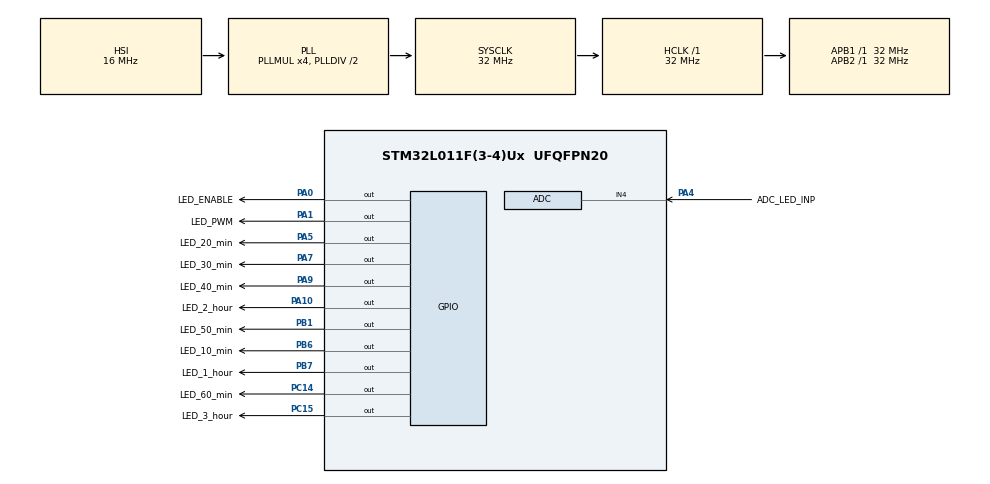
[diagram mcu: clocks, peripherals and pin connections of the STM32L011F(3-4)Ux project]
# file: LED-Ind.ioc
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Mcu.Family=STM32L0
Mcu.Name=STM32L011F(3-4)Ux
Mcu.Package=UFQFPN20
PA0-CK_IN.GPIO_Label=LED_ENABLE
PA0-CK_IN.GPIO_Speed=GPIO_SPEED_FREQ_HIGH
PA0-CK_IN.Signal=GPIO_Output
PA1.GPIO_Label=LED_PWM
PA1.GPIO_Speed=GPIO_SPEED_FREQ_VERY_HIGH
PA1.Signal=GPIO_Output
PA10.GPIO_Label=LED_2_hour
PA10.PinState=GPIO_PIN_RESET
PA10.Signal=GPIO_Output
PA13.Mode=Serial_Wire
PA13.Signal=SYS_SWDIO
PA14.Mode=Serial_Wire
PA14.Signal=SYS_SWCLK
PA4.GPIO_Label=ADC_LED_INP
PA4.Mode=IN4
PA4.Signal=ADC_IN4
PA5.GPIO_Label=LED_20_min
PA5.Signal=GPIO_Output
PA7.GPIO_Label=LED_30_min
PA7.Signal=GPIO_Output
PA9.GPIO_Label=LED_40_min
PA9.PinState=GPIO_PIN_RESET
PA9.Signal=GPIO_Output
PB1.GPIO_Label=LED_50_min
PB1.Signal=GPIO_Output
PB6.GPIO_FM6=I2C_FASTMODEPLUS_PB6
PB6.GPIO_Label=LED_10_min
PB6.PinState=GPIO_PIN_RESET
PB6.Signal=GPIO_Output
PB7.GPIO_FM7=I2C_FASTMODEPLUS_PB7
PB7.GPIO_Label=LED_1_hour
PB7.Signal=GPIO_Output
PC14-OSC32_IN.GPIO_Label=LED_60_min
PC14-OSC32_IN.Signal=GPIO_Output
PC15-OSC32_OUT.GPIO_Label=LED_3_hour
PC15-OSC32_OUT.Signal=GPIO_Output
ProjectManager.HeapSize=0x200
ProjectManager.StackSize=0x400
ProjectManager.TargetToolchain=STM32CubeIDE
RCC.AHBFreq_Value=32000000
RCC.APB1Freq_Value=32000000
RCC.APB1TimFreq_Value=32000000
RCC.APB2Freq_Value=32000000
RCC.APB2TimFreq_Value=32000000
RCC.HCLKFreq_Value=32000000
RCC.HSE_VALUE=8000000
RCC.HSI16_VALUE=16000000
RCC.HSI_VALUE=16000000
RCC.LSE_VALUE=32768
RCC.MSI_VALUE=2097000
RCC.PLLMUL=RCC_PLLMUL_4
RCC.SYSCLKFreq_VALUE=32000000
RCC.SYSCLKSource=RCC_SYSCLKSOURCE_PLLCLK
RCC.VCOOutputFreq_Value=64000000
SYS.PVDLevel=PWR_PVDLEVEL_6
VP_SYS_V_PVD_IN.Mode=Mode_PVD_Int
board=custom

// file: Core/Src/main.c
/* USER CODE BEGIN Header */
/**
  ******************************************************************************
  * @file           : main.c
  * @brief          : Main program body
  ******************************************************************************
  * @attention
  *
  * Copyright (c) 2022 STMicroelectronics.
  * All rights reserved.
  *
  * This software is licensed under terms that can be found in the LICENSE file
  * in the root directory of this software component.
  * If no LICENSE file comes with this software, it is provided AS-IS.
  *
  ******************************************************************************
  */
/* USER CODE END Header */
#include "main.h"

/* USER CODE BEGIN PD */

#define LED_ENABLE HAL_GPIO_WritePin(LED_ENABLE_GPIO_Port, LED_ENABLE_Pin,GPIO_PIN_SET)
#define LED_DISABLE HAL_GPIO_WritePin(LED_ENABLE_GPIO_Port, LED_ENABLE_Pin,GPIO_PIN_RESET)

#define LED_PWM_ON  HAL_GPIO_WritePin(GPIOA, LED_PWM_Pin, GPIO_PIN_SET)
#define LED_PWM_OFF HAL_GPIO_WritePin(GPIOA, LED_PWM_Pin, GPIO_PIN_RESET)

#define LED_10_MIN_ON  HAL_GPIO_WritePin(LED_10_min_GPIO_Port, LED_10_min_Pin,GPIO_PIN_SET)
#define LED_10_MIN_OFF  HAL_GPIO_WritePin(LED_10_min_GPIO_Port, LED_10_min_Pin,GPIO_PIN_RESET)

#define LED_20_MIN_ON  HAL_GPIO_WritePin(LED_20_min_GPIO_Port, LED_20_min_Pin,GPIO_PIN_SET)
#define LED_20_MIN_OFF  HAL_GPIO_WritePin(LED_20_min_GPIO_Port, LED_20_min_Pin,GPIO_PIN_RESET)

#define LED_30_MIN_ON  HAL_GPIO_WritePin(LED_30_min_GPIO_Port, LED_30_min_Pin,GPIO_PIN_SET)
#define LED_30_MIN_OFF  HAL_GPIO_WritePin(LED_30_min_GPIO_Port, LED_30_min_Pin,GPIO_PIN_RESET)

#define LED_40_MIN_ON  HAL_GPIO_WritePin(LED_40_min_GPIO_Port, LED_40_min_Pin,GPIO_PIN_SET)
#define LED_40_MIN_OFF  HAL_GPIO_WritePin(LED_40_min_GPIO_Port, LED_40_min_Pin,GPIO_PIN_RESET)

#define LED_50_MIN_ON  HAL_GPIO_WritePin(LED_50_min_GPIO_Port, LED_50_min_Pin,GPIO_PIN_SET)
#define LED_50_MIN_OFF  HAL_GPIO_WritePin(LED_50_min_GPIO_Port, LED_50_min_Pin,GPIO_PIN_RESET)

#define LED_60_MIN_ON  HAL_GPIO_WritePin(LED_60_min_GPIO_Port, LED_60_min_Pin,GPIO_PIN_SET)
#define LED_60_MIN_OFF  HAL_GPIO_WritePin(LED_60_min_GPIO_Port, LED_60_min_Pin,GPIO_PIN_RESET)

#define LED_1_HOUR_ON   HAL_GPIO_WritePin(LED_1_hour_GPIO_Port, LED_1_hour_Pin,GPIO_PIN_SET)
#define LED_1_HOUR_OFF  HAL_GPIO_WritePin(LED_1_hour_GPIO_Port, LED_1_hour_Pin,GPIO_PIN_RESET)

#define LED_2_HOUR_ON   HAL_GPIO_WritePin(LED_2_hour_GPIO_Port, LED_2_hour_Pin,GPIO_PIN_SET)
#define LED_2_HOUR_OFF  HAL_GPIO_WritePin(LED_2_hour_GPIO_Port, LED_2_hour_Pin,GPIO_PIN_RESET)

#define LED_3_HOUR_ON   HAL_GPIO_WritePin(GPIOC,GPIO_PIN_15,GPIO_PIN_SET)
#define LED_3_HOUR_OFF  HAL_GPIO_WritePin(GPIOC,GPIO_PIN_15,GPIO_PIN_RESET)

#define ALL_OFF LED_10_MIN_OFF LED_20_MIN_OFF LED_30_MIN_OFF LED_40_MIN_OFF LED_50_MIN_OFF	LED_60_MIN_OFF LED_1_HOUR_OFF LED_2_HOUR_OFF LED_3_HOUR_OFF;

#define ALL_ON LED_10_MIN_ON LED_20_MIN_ON LED_30_MIN_ON LED_40_MIN_ON LED_50_MIN_ON	LED_60_MIN_ON LED_1_HOUR_ON LED_2_HOUR_ON LED_3_HOUR_ON;

#define KOEFF 9350000

#define BLNK 18000

/* USER CODE END PD */

ADC_HandleTypeDef hadc;

/* USER CODE BEGIN PV */

uint32_t dl=0;
uint64_t count=0;
uint8_t scene=0;
uint8_t hour=0;
uint16_t blink=0;

/* USER CODE END PV */

void SystemClock_Config(void);
static void MX_GPIO_Init(void);
static void MX_ADC_Init(void);
/* USER CODE BEGIN PFP */
void Delay(uint32_t);

/* USER CODE END PFP */

int main(void)
{

  /* MCU Configuration--------------------------------------------------------*/

  /* Reset of all peripherals, Initializes the Flash interface and the Systick. */
  HAL_Init();

  /* Configure the system clock */
  SystemClock_Config();

  /* Initialize all configured peripherals */
  MX_GPIO_Init();
  MX_ADC_Init();
  /* USER CODE BEGIN 2 */

  LED_ENABLE;

	LED_10_MIN_ON;

	HAL_Delay(200);

	LED_20_MIN_ON;

	HAL_Delay(200);

	LED_30_MIN_ON;

	HAL_Delay(200);

	LED_40_MIN_ON;

	HAL_Delay(200);

	LED_50_MIN_ON;

	HAL_Delay(200);

	LED_60_MIN_ON;

	HAL_Delay(200);

	LED_1_HOUR_ON;

	HAL_Delay(200);

	LED_2_HOUR_ON;

	HAL_Delay(200);

	LED_3_HOUR_ON;

	HAL_Delay(800);

	LED_10_MIN_OFF;
	LED_20_MIN_OFF;
	LED_30_MIN_OFF;
	LED_40_MIN_OFF;
	LED_50_MIN_OFF;
	LED_60_MIN_OFF;
    LED_1_HOUR_OFF;
    LED_2_HOUR_OFF;
    LED_3_HOUR_OFF;
    /*
    HAL_Delay(500);
    ALL_ON;
    HAL_Delay(500);
    ALL_OFF;
*/

    HAL_Delay(500);
  dl=50;
  LED_ENABLE;
  /* USER CODE END 2 */

  /* Infinite loop */
  /* USER CODE BEGIN WHILE */
  while (1)
  {

	 LED_PWM_ON;

	                      LED_10_MIN_OFF;
					      LED_20_MIN_OFF;
				          LED_30_MIN_OFF;
				          LED_40_MIN_OFF;
					      LED_50_MIN_OFF;
				          LED_60_MIN_OFF;
					      LED_1_HOUR_OFF;
					      LED_2_HOUR_OFF;
				          LED_3_HOUR_OFF;

	                      count++;

	                      scene=count/KOEFF;
	                      if(hour==4){scene=0;count=0;hour=0;}
	//  Delay(dl);
	  LED_PWM_OFF;

                blink++;

                if(blink>BLNK){blink=0;}

				if((scene==0)||(scene==6)||(scene==12)||(scene==18)){ LED_10_MIN_ON;  if((blink>(BLNK/2))&&(blink<BLNK)){ LED_10_MIN_OFF; }}

				if((scene==1)||(scene==7)||(scene==13)||(scene==19)){ LED_20_MIN_ON;  if((blink>(BLNK/2))&&(blink<BLNK)){ LED_20_MIN_OFF; }}

				if((scene==2)||(scene==8)||(scene==14)||(scene==20)){ LED_30_MIN_ON;  if((blink>(BLNK/2))&&(blink<BLNK)){ LED_30_MIN_OFF; }}

				if((scene==3)||(scene==9)||(scene==15)||(scene==21)){ LED_40_MIN_ON;  if((blink>(BLNK/2))&&(blink<BLNK)){ LED_40_MIN_OFF; }}

				if((scene==4)||(scene==10)||(scene==16)||(scene==22)){LED_50_MIN_ON;  if((blink>(BLNK/2))&&(blink<BLNK)){ LED_50_MIN_OFF; }}

				if((scene==5)||(scene==11)||(scene==17)||(scene==23)){LED_60_MIN_ON;  if((blink>(BLNK/2))&&(blink<BLNK)){ LED_60_MIN_OFF; }}

				if((scene>=6)&&(scene<=11)){hour=1;LED_1_HOUR_ON;}

				if((scene>=12)&&(scene<=17)){ hour=2;LED_1_HOUR_ON; LED_2_HOUR_ON;}

				if((scene>=18)&&(scene<=23)){ hour=3;LED_1_HOUR_ON;LED_2_HOUR_ON;LED_3_HOUR_ON;}

				if(scene==24){

					    LED_10_MIN_ON;
						LED_20_MIN_ON;
						LED_30_MIN_ON;
						LED_40_MIN_ON;
						LED_50_MIN_ON;
						LED_60_MIN_ON;
					    LED_1_HOUR_ON;
					    LED_2_HOUR_ON;
					    LED_3_HOUR_ON;

					   HAL_Delay(600);

					    LED_10_MIN_OFF;
					    LED_20_MIN_OFF;
					    LED_30_MIN_OFF;
					    LED_40_MIN_OFF;
					    LED_50_MIN_OFF;
					    LED_60_MIN_OFF;
					    LED_1_HOUR_OFF;
					    LED_2_HOUR_OFF;
					    LED_3_HOUR_OFF;

					   HAL_Delay(600);

					    LED_10_MIN_ON;
					    LED_20_MIN_ON;
						LED_30_MIN_ON;
						LED_40_MIN_ON;
					    LED_50_MIN_ON;
					    LED_60_MIN_ON;
					    LED_1_HOUR_ON;
					    LED_2_HOUR_ON;
					    LED_3_HOUR_ON;

					    HAL_Delay(600);

					    LED_10_MIN_OFF;
					   	LED_20_MIN_OFF;
					   	LED_30_MIN_OFF;
					   	LED_40_MIN_OFF;
					   	LED_50_MIN_OFF;
					   	LED_60_MIN_OFF;
					   	LED_1_HOUR_OFF;
					   	LED_2_HOUR_OFF;
					   	LED_3_HOUR_OFF;

					   	HAL_Delay(600);

					   	LED_10_MIN_ON;
					   	LED_20_MIN_ON;
					   	LED_30_MIN_ON;
					   	LED_40_MIN_ON;
					   	LED_50_MIN_ON;
					   	LED_60_MIN_ON;
					   	LED_1_HOUR_ON;
					   	LED_2_HOUR_ON;
					   	LED_3_HOUR_ON;
					    HAL_Delay(1000);
				    	hour=4;}

				 Delay(dl);
				// HAL_Delay(5);

  }

    /* USER CODE END WHILE */

  }

void SystemClock_Config(void)
{
  RCC_OscInitTypeDef RCC_OscInitStruct = {0};
  RCC_ClkInitTypeDef RCC_ClkInitStruct = {0};

  /** Configure the main internal regulator output voltage
  */
  __HAL_PWR_VOLTAGESCALING_CONFIG(PWR_REGULATOR_VOLTAGE_SCALE1);

  /** Initializes the RCC Oscillators according to the specified parameters
  * in the RCC_OscInitTypeDef structure.
  */
  RCC_OscInitStruct.OscillatorType = RCC_OSCILLATORTYPE_HSI;
  RCC_OscInitStruct.HSIState = RCC_HSI_ON;
  RCC_OscInitStruct.HSICalibrationValue = RCC_HSICALIBRATION_DEFAULT;
  RCC_OscInitStruct.PLL.PLLState = RCC_PLL_ON;
  RCC_OscInitStruct.PLL.PLLSource = RCC_PLLSOURCE_HSI;
  RCC_OscInitStruct.PLL.PLLMUL = RCC_PLLMUL_4;
  RCC_OscInitStruct.PLL.PLLDIV = RCC_PLLDIV_2;
  if (HAL_RCC_OscConfig(&RCC_OscInitStruct) != HAL_OK)
  {
    Error_Handler();
  }

  /** Initializes the CPU, AHB and APB buses clocks
  */
  RCC_ClkInitStruct.ClockType = RCC_CLOCKTYPE_HCLK|RCC_CLOCKTYPE_SYSCLK
                              |RCC_CLOCKTYPE_PCLK1|RCC_CLOCKTYPE_PCLK2;
  RCC_ClkInitStruct.SYSCLKSource = RCC_SYSCLKSOURCE_PLLCLK;
  RCC_ClkInitStruct.AHBCLKDivider = RCC_SYSCLK_DIV1;
  RCC_ClkInitStruct.APB1CLKDivider = RCC_HCLK_DIV1;
  RCC_ClkInitStruct.APB2CLKDivider = RCC_HCLK_DIV1;

  if (HAL_RCC_ClockConfig(&RCC_ClkInitStruct, FLASH_LATENCY_1) != HAL_OK)
  {
    Error_Handler();
  }
}

static void MX_ADC_Init(void)
{

  ADC_ChannelConfTypeDef sConfig = {0};

  /** Configure the global features of the ADC (Clock, Resolution, Data Alignment and number of conversion)
  */
  hadc.Instance = ADC1;
  hadc.Init.OversamplingMode = DISABLE;
  hadc.Init.ClockPrescaler = ADC_CLOCK_SYNC_PCLK_DIV2;
  hadc.Init.Resolution = ADC_RESOLUTION_12B;
  hadc.Init.SamplingTime = ADC_SAMPLETIME_1CYCLE_5;
  hadc.Init.ScanConvMode = ADC_SCAN_DIRECTION_FORWARD;
  hadc.Init.DataAlign = ADC_DATAALIGN_RIGHT;
  hadc.Init.ContinuousConvMode = DISABLE;
  hadc.Init.DiscontinuousConvMode = DISABLE;
  hadc.Init.ExternalTrigConvEdge = ADC_EXTERNALTRIGCONVEDGE_NONE;
  hadc.Init.ExternalTrigConv = ADC_SOFTWARE_START;
  hadc.Init.DMAContinuousRequests = DISABLE;
  hadc.Init.EOCSelection = ADC_EOC_SINGLE_CONV;
  hadc.Init.Overrun = ADC_OVR_DATA_PRESERVED;
  hadc.Init.LowPowerAutoWait = DISABLE;
  hadc.Init.LowPowerFrequencyMode = DISABLE;
  hadc.Init.LowPowerAutoPowerOff = DISABLE;
  if (HAL_ADC_Init(&hadc) != HAL_OK)
  {
    Error_Handler();
  }

  /** Configure for the selected ADC regular channel to be converted.
  */
  sConfig.Channel = ADC_CHANNEL_4;
  sConfig.Rank = ADC_RANK_CHANNEL_NUMBER;
  if (HAL_ADC_ConfigChannel(&hadc, &sConfig) != HAL_OK)
  {
    Error_Handler();
  }

}

static void MX_GPIO_Init(void)
{
  GPIO_InitTypeDef GPIO_InitStruct = {0};

  /* GPIO Ports Clock Enable */
  __HAL_RCC_GPIOC_CLK_ENABLE();
  __HAL_RCC_GPIOA_CLK_ENABLE();
  __HAL_RCC_GPIOB_CLK_ENABLE();

  /*Configure GPIO pin Output Level */
  HAL_GPIO_WritePin(GPIOC, LED_60_min_Pin|LED_3_hour_Pin, GPIO_PIN_RESET);

  /*Configure GPIO pin Output Level */
  HAL_GPIO_WritePin(GPIOA, LED_ENABLE_Pin|LED_PWM_Pin|LED_20_min_Pin|LED_30_min_Pin
                          |LED_40_min_Pin|LED_2_hour_Pin, GPIO_PIN_RESET);

  /*Configure GPIO pin Output Level */
  HAL_GPIO_WritePin(GPIOB, LED_50_min_Pin|LED_10_min_Pin|LED_1_hour_Pin, GPIO_PIN_RESET);

  /*Configure GPIO pins : LED_60_min_Pin LED_3_hour_Pin */
  GPIO_InitStruct.Pin = LED_60_min_Pin|LED_3_hour_Pin;
  GPIO_InitStruct.Mode = GPIO_MODE_OUTPUT_PP;
  GPIO_InitStruct.Pull = GPIO_NOPULL;
  GPIO_InitStruct.Speed = GPIO_SPEED_FREQ_LOW;
  HAL_GPIO_Init(GPIOC, &GPIO_InitStruct);

  /*Configure GPIO pin : LED_ENABLE_Pin */
  GPIO_InitStruct.Pin = LED_ENABLE_Pin;
  GPIO_InitStruct.Mode = GPIO_MODE_OUTPUT_PP;
  GPIO_InitStruct.Pull = GPIO_NOPULL;
  GPIO_InitStruct.Speed = GPIO_SPEED_FREQ_HIGH;
  HAL_GPIO_Init(LED_ENABLE_GPIO_Port, &GPIO_InitStruct);

  /*Configure GPIO pin : LED_PWM_Pin */
  GPIO_InitStruct.Pin = LED_PWM_Pin;
  GPIO_InitStruct.Mode = GPIO_MODE_OUTPUT_PP;
  GPIO_InitStruct.Pull = GPIO_NOPULL;
  GPIO_InitStruct.Speed = GPIO_SPEED_FREQ_VERY_HIGH;
  HAL_GPIO_Init(LED_PWM_GPIO_Port, &GPIO_InitStruct);

  /*Configure GPIO pins : LED_20_min_Pin LED_30_min_Pin LED_40_min_Pin LED_2_hour_Pin */
  GPIO_InitStruct.Pin = LED_20_min_Pin|LED_30_min_Pin|LED_40_min_Pin|LED_2_hour_Pin;
  GPIO_InitStruct.Mode = GPIO_MODE_OUTPUT_PP;
  GPIO_InitStruct.Pull = GPIO_NOPULL;
  GPIO_InitStruct.Speed = GPIO_SPEED_FREQ_LOW;
  HAL_GPIO_Init(GPIOA, &GPIO_InitStruct);

  /*Configure GPIO pins : LED_50_min_Pin LED_10_min_Pin LED_1_hour_Pin */
  GPIO_InitStruct.Pin = LED_50_min_Pin|LED_10_min_Pin|LED_1_hour_Pin;
  GPIO_InitStruct.Mode = GPIO_MODE_OUTPUT_PP;
  GPIO_InitStruct.Pull = GPIO_NOPULL;
  GPIO_InitStruct.Speed = GPIO_SPEED_FREQ_LOW;
  HAL_GPIO_Init(GPIOB, &GPIO_InitStruct);

  /**/
  HAL_I2CEx_EnableFastModePlus(I2C_FASTMODEPLUS_PB6);

  /**/
  HAL_I2CEx_EnableFastModePlus(I2C_FASTMODEPLUS_PB7);

}

/* USER CODE BEGIN 4 */

void Delay(uint32_t d){

for(uint32_t n=0;n<d;){
	n++;}
}

/* USER CODE END 4 */

void Error_Handler(void)
{
  __disable_irq();
  while (1)
  {
  }
}
